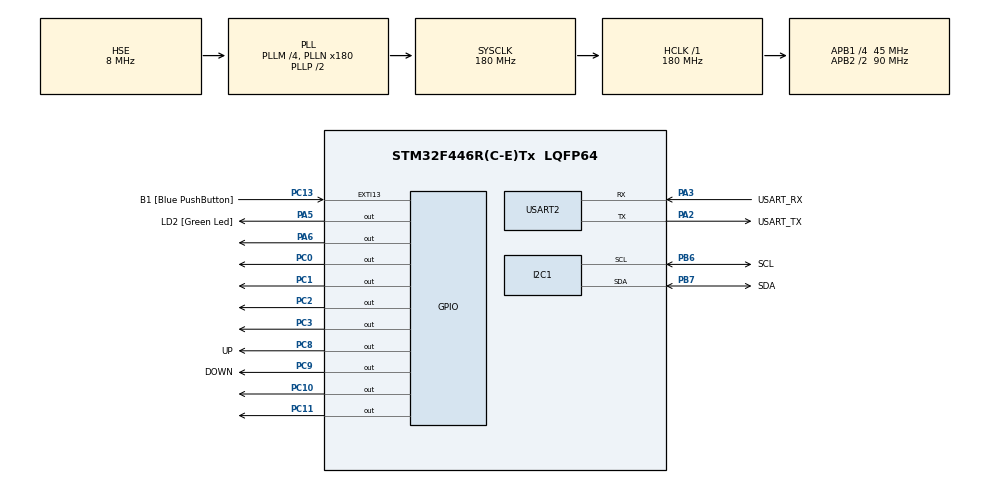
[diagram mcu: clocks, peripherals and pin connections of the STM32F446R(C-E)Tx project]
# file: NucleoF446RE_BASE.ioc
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Mcu.Family=STM32F4
Mcu.Name=STM32F446R(C-E)Tx
Mcu.Package=LQFP64
NVIC.I2C1_ER_IRQn=true\:0\:0\:false\:false\:true
NVIC.I2C1_EV_IRQn=true\:0\:0\:false\:false\:true
NVIC.PriorityGroup=NVIC_PRIORITYGROUP_0
NVIC.RCC_IRQn=true\:0\:0\:false\:false\:true
NVIC.TIM2_IRQn=true\:0\:0\:false\:false\:true
NVIC.TIM3_IRQn=true\:0\:0\:false\:false\:true
NVIC.USART2_IRQn=true\:0\:0\:false\:false\:true
PA13.GPIO_Label=TMS
PA13.Signal=SYS_JTMS-SWDIO
PA14.GPIO_Label=TCK
PA14.Signal=SYS_JTCK-SWCLK
PA2.GPIO_Label=USART_TX
PA2.Mode=Asynchronous
PA2.Signal=USART2_TX
PA3.GPIO_Label=USART_RX
PA3.Mode=Asynchronous
PA3.Signal=USART2_RX
PA5.GPIO_Label=LD2 [Green Led]
PA5.Signal=GPIO_Output
PA6.Signal=GPIO_Output
PB3.GPIO_Label=SWO
PB3.Signal=SYS_JTDO-SWO
PB6.GPIO_Label=SCL
PB6.GPIO_Speed=GPIO_SPEED_FREQ_HIGH
PB6.Mode=I2C
PB6.Signal=I2C1_SCL
PB7.GPIO_Label=SDA
PB7.GPIO_Speed=GPIO_SPEED_FREQ_HIGH
PB7.Mode=I2C
PB7.Signal=I2C1_SDA
PC0.Signal=GPIO_Output
PC1.Signal=GPIO_Output
PC10.Signal=GPIO_Output
PC11.Signal=GPIO_Output
PC13.GPIO_Label=B1 [Blue PushButton]
PC13.GPIO_ModeDefaultEXTI=GPIO_MODE_EVT_RISING
PC13.Signal=GPXTI13
PC14-OSC32_IN.Mode=LSE-External-Oscillator
PC14-OSC32_IN.Signal=RCC_OSC32_IN
PC15-OSC32_OUT.Mode=LSE-External-Oscillator
PC15-OSC32_OUT.Signal=RCC_OSC32_OUT
PC2.Signal=GPIO_Output
PC3.Signal=GPIO_Output
PC8.GPIO_Label=UP
PC8.Signal=GPIO_Output
PC9.GPIO_Label=DOWN
PC9.Signal=GPIO_Output
PH0-OSC_IN.Mode=HSE-External-Oscillator
PH0-OSC_IN.Signal=RCC_OSC_IN
PH1-OSC_OUT.Mode=HSE-External-Oscillator
PH1-OSC_OUT.Signal=RCC_OSC_OUT
ProjectManager.HeapSize=0x200
ProjectManager.StackSize=0x400
ProjectManager.TargetToolchain=TrueSTUDIO
RCC.AHBFreq_Value=180000000
RCC.APB1CLKDivider=RCC_HCLK_DIV4
RCC.APB1Freq_Value=45000000
RCC.APB1TimFreq_Value=90000000
RCC.APB2CLKDivider=RCC_HCLK_DIV2
RCC.APB2Freq_Value=90000000
RCC.APB2TimFreq_Value=180000000
RCC.CortexFreq_Value=180000000
RCC.FLatency-AdvancedSettings=FLASH_LATENCY_5
RCC.HCLKFreq_Value=180000000
RCC.HSE_VALUE=8000000
RCC.HSI_VALUE=16000000
RCC.PLLM=4
RCC.PLLN=180
RCC.PLLSourceVirtual=RCC_PLLSOURCE_HSE
RCC.SYSCLKFreq_VALUE=180000000
RCC.SYSCLKSource=RCC_SYSCLKSOURCE_PLLCLK
RCC.USBFreq_Value=180000000
RCC.VCOOutputFreq_Value=360000000
TIM2.Period=4999
TIM2.Prescaler=9000
TIM3.Period=999
TIM3.Prescaler=9000
VP_TIM2_VS_ClockSourceINT.Mode=Internal
VP_TIM3_VS_ClockSourceINT.Mode=Internal
board=NUCLEO-F446RE

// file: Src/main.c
/**
  ******************************************************************************
  * File Name          : main.c
  * Description        : Main program body
  ******************************************************************************
  *
  * COPYRIGHT(c) 2016 STMicroelectronics
  *
  * Redistribution and use in source and binary forms, with or without modification,
  * are permitted provided that the following conditions are met:
  *   1. Redistributions of source code must retain the above copyright notice,
  *      this list of conditions and the following disclaimer.
  *   2. Redistributions in binary form must reproduce the above copyright notice,
  *      this list of conditions and the following disclaimer in the documentation
  *      and/or other materials provided with the distribution.
  *   3. Neither the name of STMicroelectronics nor the names of its contributors
  *      may be used to endorse or promote products derived from this software
  *      without specific prior written permission.
  *
  * THIS SOFTWARE IS PROVIDED BY THE COPYRIGHT HOLDERS AND CONTRIBUTORS "AS IS"
  * AND ANY EXPRESS OR IMPLIED WARRANTIES, INCLUDING, BUT NOT LIMITED TO, THE
  * IMPLIED WARRANTIES OF MERCHANTABILITY AND FITNESS FOR A PARTICULAR PURPOSE ARE
  * DISCLAIMED. IN NO EVENT SHALL THE COPYRIGHT HOLDER OR CONTRIBUTORS BE LIABLE
  * FOR ANY DIRECT, INDIRECT, INCIDENTAL, SPECIAL, EXEMPLARY, OR CONSEQUENTIAL
  * DAMAGES (INCLUDING, BUT NOT LIMITED TO, PROCUREMENT OF SUBSTITUTE GOODS OR
  * SERVICES; LOSS OF USE, DATA, OR PROFITS; OR BUSINESS INTERRUPTION) HOWEVER
  * CAUSED AND ON ANY THEORY OF LIABILITY, WHETHER IN CONTRACT, STRICT LIABILITY,
  * OR TORT (INCLUDING NEGLIGENCE OR OTHERWISE) ARISING IN ANY WAY OUT OF THE USE
  * OF THIS SOFTWARE, EVEN IF ADVISED OF THE POSSIBILITY OF SUCH DAMAGE.
  *
  ******************************************************************************
  */
#include "stm32f4xx_hal.h"

/* USER CODE BEGIN Includes */
#include "tlcd.h"
#include "my_mpu6050.h"
/* USER CODE END Includes */

I2C_HandleTypeDef hi2c1;

TIM_HandleTypeDef htim2;
TIM_HandleTypeDef htim3;

UART_HandleTypeDef huart2;

/* USER CODE BEGIN PV */
/* Private variables ---------------------------------------------------------*/
#define DATA  100
uint8_t Rx_Buffer2[DATA+2];
uint8_t Rx_Data2;
uint8_t Rx_Indx2;
uint8_t Transfer_cplt2;
uint8_t mpu6050_data[14];

uint8_t i2c_data[20];
uint32_t count=0;

/* USER CODE END PV */

void SystemClock_Config(void);
void Error_Handler(void);
static void MX_GPIO_Init(void);
static void MX_TIM2_Init(void);
static void MX_TIM3_Init(void);
static void MX_USART2_UART_Init(void);
static void MX_I2C1_Init(void);

/* USER CODE BEGIN PFP */
/* Private function prototypes -----------------------------------------------*/
//void 		HAL_UART_RxCpltCallback(UART_HandleTypeDef *huart);
//void 		HAL_TIM_PeriodElapsedCallback(TIM_HandleTypeDef *htim);

/* USER CODE END PFP */

/* USER CODE BEGIN 0 */
void HAL_UART_RxCpltCallback(UART_HandleTypeDef *huart)
{
	if(huart->Instance==USART2) {
	  HAL_UART_Transmit(&huart2,(uint8_t *)&Rx_Data2, 1,1000000);
	  HAL_UART_Receive_IT(&huart2,(uint8_t *)&Rx_Data2, 1);
	  HAL_GPIO_TogglePin(LD2_GPIO_Port, LD2_Pin);
	}
}
/*
void HAL_UART_RxCpltCallback(UART_HandleTypeDef *huart)
{
	uint8_t	i;

	HAL_GPIO_TogglePin(GPIOA, GPIO_PIN_6);

	if(huart->Instance==USART2)
	{
		if(Rx_Indx2==0)			for(i=0;i<DATA+2;i++) Rx_Buffer2[i] = 0;

		if(Rx_Data2[0]!=0x0a)	Rx_Buffer2[Rx_Indx2++]=Rx_Data2[0];
		else if(Rx_Data2[0]==0x0a)
		{
			Rx_Indx2 = 0;
			Transfer_cplt2 = 1;
		}
		HAL_UART_Receive_IT(&huart2, (uint8_t *)Rx_Data2, 1);
		HAL_UART_Transmit(&huart2, (uint8_t *)"Start!!!!!\r\n", 12,1000);
	}
}
*/
void HAL_TIM_PeriodElapsedCallback(TIM_HandleTypeDef *htim)
{
	if(htim->Instance==TIM2) {
		// HAL_GPIO_TogglePin(LD2_GPIO_Port, LD2_Pin);
		// HAL_UART_Transmit(&huart2, (uint8_t *)"Start!!!!!\r\n", 12,1000);
	}
	else if(htim->Instance==TIM3) {
		// HAL_GPIO_TogglePin(LD2_GPIO_Port, LD2_Pin);
	}
}

/* USER CODE END 0 */

int main(void)
{

  /* USER CODE BEGIN 1 */
	char s1[17] = "**1234567890**";
	char s2[17] = "**ABCDEFGHIJ**";
    char msg[20];
  /* USER CODE END 1 */

  /* MCU Configuration----------------------------------------------------------*/

  /* Reset of all peripherals, Initializes the Flash interface and the Systick. */
  HAL_Init();

  /* Configure the system clock */
  SystemClock_Config();

  /* Initialize all configured peripherals */
  MX_GPIO_Init();
  MX_TIM2_Init();
  MX_TIM3_Init();
  MX_USART2_UART_Init();
  MX_I2C1_Init();

  /* USER CODE BEGIN 2 */
	while(HAL_UART_Receive_IT(&huart2, (uint8_t *)&Rx_Data2, 1)!=HAL_OK);

  sprintf(msg,"init USART Receive It~\r\n");
	HAL_UART_Transmit(&huart2, (uint8_t *)msg, 20,1000);

	// Activate TIMER Interrupt
	while(HAL_TIM_Base_Start_IT(&htim2)!=HAL_OK);
	while(HAL_TIM_Base_Start_IT(&htim3)!=HAL_OK);
	sprintf(msg,"init TIMER\r\n");
	HAL_UART_Transmit(&huart2, (uint8_t *)msg, 20,1000);

	// DMA setting------------------------------------------------
//	while(HAL_DMA_Start_IT(&hdma_i2c1_rx,(uint32_t)0x3b,(uint32_t)mpu6050_data,14)!=HAL_OK);
//	while(HAL_DMA_Start_IT(&hdma_i2c1_tx)!=HAL_OK);

	//  i2c1 setting----------------------------------------------
	uint8_t whoAmI[2];
//	whoAmI[0] = RA_PWR_ADDR;
//	whoAmI[1] = RA_PWR_MGMT_1;
//	uint8_t  pdata=0x0;

//	sprintf(msg,"init %d*\r\n",HAL_I2C_GetState(&hi2c1));
	HAL_UART_Transmit(&huart2, (uint8_t *)msg, 20,1000);

//	pdata = 1;
//	HAL_I2C_Master_Transmit(&hi2c1, (uint16_t)MPU6050>>1, (uint8_t*)&pdata, 1,1000);
	HAL_Delay(100);
//	pdata = 0;
//	HAL_I2C_Master_Transmit(&hi2c1, (uint16_t)0x6b, (uint8_t*)&pdata, 1,1000);
// 	HAL_I2C_Mem_Write(&hi2c1,(uint16_t)MPU6050>>1,(uint16_t)0x6b,1,(uint8_t*)&pdata,1,1000);
	//HAL_Delay(1000);   // 10ms delay

	//while(HAL_I2C_Master_Transmit_DMA(&hi2c1, (uint16_t)0x68, (uint8_t*)&pdata, 1)!= HAL_OK);

//	while(HAL_I2C_IsDeviceReady(&hi2c1,0x68,10,1000)!=HAL_OK);
	sprintf(msg,"init I2C1\r\n");
	HAL_UART_Transmit(&huart2, (uint8_t *)msg, 20,1000);

//	HAL_I2C_Master_Transmit_DMA(&hi2c1,MPU6050,&pdata,1);
//	HAL_I2C_Mem_Write_DMA(&hi2c1,MPU6050>>1,RA_PWR_ADDR,1,&pdata,1);
	HAL_UART_Transmit(&huart2, (uint8_t *)"\r\n11111!!!!!\r\n", 14,1000);

/*
	while(HAL_I2C_GetState(&hi2c1)!=HAL_I2C_STATE_READY);
	HAL_UART_Transmit(&huart2, (uint8_t *)"\r\n22222!!!!!\r\n", 14,1000);

	while(HAL_I2C_Master_Receive_DMA(&hi2c1,MPU6050,whoAmI,2)!=HAL_OK);
	HAL_UART_Transmit(&huart2, (uint8_t *)"\r\n33333!!!!!\r\n", 14,1000);
*/
	//HAL_I2C_Master_Receive_DMA(&hi2c1,0x68,(uint8_t *)i2c_data,7);
	// HAL_I2C_Mem_Read_DMA(&hi2c1,0x69,0x3b,14,(uint8_t *)i2c_data,14);
	//while(HAL_I2C_Master_Receive_IT(&hi2c1,i2c_buffer,1) != HAL_OK );

	// ADC - DMA
	char sss[10];
	HAL_UART_Transmit(&huart2, (uint8_t *)"\r\nStart!!!!!\r\n", 14,1000);
	sprintf(sss,"%2x,%2x\r\n",whoAmI[0],whoAmI[1]);
	HAL_UART_Transmit(&huart2, (uint8_t *)sss, 10,1000);

	// LCD사용을 위해 GPIOC를 사용.
	TLCD_Init(GPIO_PIN_10,GPIO_PIN_11,GPIO_PIN_0,GPIO_PIN_1,GPIO_PIN_2,GPIO_PIN_3);

	TLCD_Puts(1,s1);
	TLCD_Puts(2,s2);

	HAL_Delay(1000000);

  /* USER CODE END 2 */

  /* Infinite loop */
  while (1)
  {

  /* USER CODE BEGIN 3 */

	  if(Transfer_cplt2==1) {
		  sprintf(sss,"RDATA : ");
		  HAL_UART_Transmit(&huart2, (uint8_t *)sss, 10,1000);
		  HAL_UART_Transmit(&huart2, Rx_Buffer2, 50,1000);
		  Transfer_cplt2 = 0;
	  }
		TLCD_Puts(1," *Init    Gyro*");
		TLCD_Puts(2," *UPUPUPUPUPUP*");
		HAL_GPIO_WritePin(GPIOC,UP_Pin,   GPIO_PIN_RESET);
		HAL_GPIO_WritePin(GPIOC,DOWN_Pin, GPIO_PIN_SET);
		HAL_Delay(1000000);
		HAL_GPIO_WritePin(GPIOC,UP_Pin|DOWN_Pin, GPIO_PIN_SET);

		HAL_Delay(1000000);
		TLCD_Puts(1," *InIt   Motor*");
		TLCD_Puts(2," *DOWNDOWNDOWN*");
		HAL_GPIO_WritePin(GPIOC,DOWN_Pin, GPIO_PIN_RESET);
		HAL_GPIO_WritePin(GPIOC,UP_Pin,   GPIO_PIN_SET);
		HAL_Delay(1000000);
		HAL_GPIO_WritePin(GPIOC,UP_Pin|DOWN_Pin, GPIO_PIN_SET);
		HAL_Delay(1000000);

		HAL_UART_Transmit(&huart2, (uint8_t *)"\r\nwhile!!!!!\r\n", 14,1000);

  }
  /* USER CODE END 3 */

}

/** System Clock Configuration
*/
void SystemClock_Config(void)
{

  RCC_OscInitTypeDef RCC_OscInitStruct;
  RCC_ClkInitTypeDef RCC_ClkInitStruct;

  __HAL_RCC_PWR_CLK_ENABLE();

  __HAL_PWR_VOLTAGESCALING_CONFIG(PWR_REGULATOR_VOLTAGE_SCALE1);

  RCC_OscInitStruct.OscillatorType = RCC_OSCILLATORTYPE_HSE;
  RCC_OscInitStruct.HSEState = RCC_HSE_ON;
  RCC_OscInitStruct.PLL.PLLState = RCC_PLL_ON;
  RCC_OscInitStruct.PLL.PLLSource = RCC_PLLSOURCE_HSE;
  RCC_OscInitStruct.PLL.PLLM = 4;
  RCC_OscInitStruct.PLL.PLLN = 180;
  RCC_OscInitStruct.PLL.PLLP = RCC_PLLP_DIV2;
  RCC_OscInitStruct.PLL.PLLQ = 2;
  RCC_OscInitStruct.PLL.PLLR = 2;
  if (HAL_RCC_OscConfig(&RCC_OscInitStruct) != HAL_OK)
  {
    Error_Handler();
  }

  if (HAL_PWREx_EnableOverDrive() != HAL_OK)
  {
    Error_Handler();
  }

  RCC_ClkInitStruct.ClockType = RCC_CLOCKTYPE_HCLK|RCC_CLOCKTYPE_SYSCLK
                              |RCC_CLOCKTYPE_PCLK1|RCC_CLOCKTYPE_PCLK2;
  RCC_ClkInitStruct.SYSCLKSource = RCC_SYSCLKSOURCE_PLLCLK;
  RCC_ClkInitStruct.AHBCLKDivider = RCC_SYSCLK_DIV1;
  RCC_ClkInitStruct.APB1CLKDivider = RCC_HCLK_DIV4;
  RCC_ClkInitStruct.APB2CLKDivider = RCC_HCLK_DIV2;
  if (HAL_RCC_ClockConfig(&RCC_ClkInitStruct, FLASH_LATENCY_5) != HAL_OK)
  {
    Error_Handler();
  }

  HAL_SYSTICK_Config(HAL_RCC_GetHCLKFreq()/1000000);

  HAL_SYSTICK_CLKSourceConfig(SYSTICK_CLKSOURCE_HCLK);

  /* SysTick_IRQn interrupt configuration */
  HAL_NVIC_SetPriority(SysTick_IRQn, 0, 0);
}

/* I2C1 init function */
static void MX_I2C1_Init(void)
{

  hi2c1.Instance = I2C1;
  hi2c1.Init.ClockSpeed = 100000;
  hi2c1.Init.DutyCycle = I2C_DUTYCYCLE_2;
  hi2c1.Init.OwnAddress1 = 0;
  hi2c1.Init.AddressingMode = I2C_ADDRESSINGMODE_7BIT;
  hi2c1.Init.DualAddressMode = I2C_DUALADDRESS_DISABLE;
  hi2c1.Init.OwnAddress2 = 0;
  hi2c1.Init.GeneralCallMode = I2C_GENERALCALL_DISABLE;
  hi2c1.Init.NoStretchMode = I2C_NOSTRETCH_DISABLE;
  if (HAL_I2C_Init(&hi2c1) != HAL_OK)
  {
    Error_Handler();
  }

}

/* TIM2 init function */
static void MX_TIM2_Init(void)
{

  TIM_ClockConfigTypeDef sClockSourceConfig;
  TIM_MasterConfigTypeDef sMasterConfig;

  htim2.Instance = TIM2;
  htim2.Init.Prescaler = 9000;
  htim2.Init.CounterMode = TIM_COUNTERMODE_UP;
  htim2.Init.Period = 4999;
  htim2.Init.ClockDivision = TIM_CLOCKDIVISION_DIV1;
  if (HAL_TIM_Base_Init(&htim2) != HAL_OK)
  {
    Error_Handler();
  }

  sClockSourceConfig.ClockSource = TIM_CLOCKSOURCE_INTERNAL;
  if (HAL_TIM_ConfigClockSource(&htim2, &sClockSourceConfig) != HAL_OK)
  {
    Error_Handler();
  }

  sMasterConfig.MasterOutputTrigger = TIM_TRGO_RESET;
  sMasterConfig.MasterSlaveMode = TIM_MASTERSLAVEMODE_DISABLE;
  if (HAL_TIMEx_MasterConfigSynchronization(&htim2, &sMasterConfig) != HAL_OK)
  {
    Error_Handler();
  }

}

/* TIM3 init function */
static void MX_TIM3_Init(void)
{

  TIM_ClockConfigTypeDef sClockSourceConfig;
  TIM_MasterConfigTypeDef sMasterConfig;

  htim3.Instance = TIM3;
  htim3.Init.Prescaler = 9000;
  htim3.Init.CounterMode = TIM_COUNTERMODE_UP;
  htim3.Init.Period = 999;
  htim3.Init.ClockDivision = TIM_CLOCKDIVISION_DIV1;
  if (HAL_TIM_Base_Init(&htim3) != HAL_OK)
  {
    Error_Handler();
  }

  sClockSourceConfig.ClockSource = TIM_CLOCKSOURCE_INTERNAL;
  if (HAL_TIM_ConfigClockSource(&htim3, &sClockSourceConfig) != HAL_OK)
  {
    Error_Handler();
  }

  sMasterConfig.MasterOutputTrigger = TIM_TRGO_RESET;
  sMasterConfig.MasterSlaveMode = TIM_MASTERSLAVEMODE_DISABLE;
  if (HAL_TIMEx_MasterConfigSynchronization(&htim3, &sMasterConfig) != HAL_OK)
  {
    Error_Handler();
  }

}

/* USART2 init function */
static void MX_USART2_UART_Init(void)
{

  huart2.Instance = USART2;
  huart2.Init.BaudRate = 115200;
  huart2.Init.WordLength = UART_WORDLENGTH_8B;
  huart2.Init.StopBits = UART_STOPBITS_1;
  huart2.Init.Parity = UART_PARITY_NONE;
  huart2.Init.Mode = UART_MODE_TX_RX;
  huart2.Init.HwFlowCtl = UART_HWCONTROL_NONE;
  huart2.Init.OverSampling = UART_OVERSAMPLING_16;
  if (HAL_UART_Init(&huart2) != HAL_OK)
  {
    Error_Handler();
  }

}

/** Configure pins as
        * Analog
        * Input
        * Output
        * EVENT_OUT
        * EXTI
*/
static void MX_GPIO_Init(void)
{

  GPIO_InitTypeDef GPIO_InitStruct;

  /* GPIO Ports Clock Enable */
  __HAL_RCC_GPIOC_CLK_ENABLE();
  __HAL_RCC_GPIOH_CLK_ENABLE();
  __HAL_RCC_GPIOA_CLK_ENABLE();
  __HAL_RCC_GPIOB_CLK_ENABLE();

  /*Configure GPIO pin : B1_Pin */
  GPIO_InitStruct.Pin = B1_Pin;
  GPIO_InitStruct.Mode = GPIO_MODE_EVT_RISING;
  GPIO_InitStruct.Pull = GPIO_NOPULL;
  HAL_GPIO_Init(B1_GPIO_Port, &GPIO_InitStruct);

  /*Configure GPIO pins : PC0 PC1 PC2 PC3
                           UP_Pin DOWN_Pin PC10 PC11 */
  GPIO_InitStruct.Pin = GPIO_PIN_0|GPIO_PIN_1|GPIO_PIN_2|GPIO_PIN_3
                          |UP_Pin|DOWN_Pin|GPIO_PIN_10|GPIO_PIN_11;
  GPIO_InitStruct.Mode = GPIO_MODE_OUTPUT_PP;
  GPIO_InitStruct.Pull = GPIO_NOPULL;
  GPIO_InitStruct.Speed = GPIO_SPEED_FREQ_LOW;
  HAL_GPIO_Init(GPIOC, &GPIO_InitStruct);

  /*Configure GPIO pins : LD2_Pin PA6 */
  GPIO_InitStruct.Pin = LD2_Pin|GPIO_PIN_6;
  GPIO_InitStruct.Mode = GPIO_MODE_OUTPUT_PP;
  GPIO_InitStruct.Pull = GPIO_NOPULL;
  GPIO_InitStruct.Speed = GPIO_SPEED_FREQ_LOW;
  HAL_GPIO_Init(GPIOA, &GPIO_InitStruct);

  /*Configure GPIO pin Output Level */
  HAL_GPIO_WritePin(GPIOC, GPIO_PIN_0|GPIO_PIN_1|GPIO_PIN_2|GPIO_PIN_3
                          |UP_Pin|DOWN_Pin|GPIO_PIN_10|GPIO_PIN_11, GPIO_PIN_RESET);

  /*Configure GPIO pin Output Level */
  HAL_GPIO_WritePin(GPIOA, LD2_Pin|GPIO_PIN_6, GPIO_PIN_RESET);

}

void Error_Handler(void)
{
  while(1)
  {
  }
}

/************************ (C) COPYRIGHT STMicroelectronics *****END OF FILE****/
